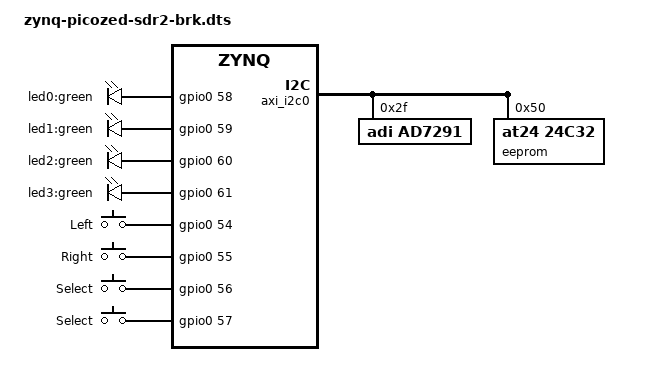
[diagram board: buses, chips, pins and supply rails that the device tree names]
/dts-v1/;
/include/ "zynq-picozed-sdr2.dtsi"


&axi_i2c0 {
	ad7291@2f {
		compatible = "adi,ad7291";
		reg = <0x2f>;
	};

	eeprom@50 {
		compatible = "at24,24c32";
		reg = <0x50>;
	};
};

/ {
	leds {
		compatible = "gpio-leds";
		led0 {
			label = "led0:green";
			gpios = <&gpio0 58 0>;
		};

		led1 {
			label = "led1:green";
			gpios = <&gpio0 59 0>;
		};

		led2 {
			label = "led2:green";
			gpios = <&gpio0 60 0>;
		};

		led3 {
			label = "led3:green";
			gpios = <&gpio0 61 0>;
		};
	};

	gpio_keys {
		compatible = "gpio-keys";
		#address-cells = <1>;
		#size-cells = <0>;
		autorepeat;

		pb0 {
			label = "Left";
			linux,code = <105>; // Left
			gpios = <&gpio0 54 0>;
		};

		pb1 {
			label = "Right";
			linux,code = <106>; // Right
			gpios = <&gpio0 55 0>;
		};

		pb2 {
			label = "Select";
			linux,code = <28>; // Enter
			gpios = <&gpio0 56 0>;
		};

		pb4 {
			label = "Select";
			linux,code = <28>; // Enter
			gpios = <&gpio0 57 0>;
		};
	};
};
